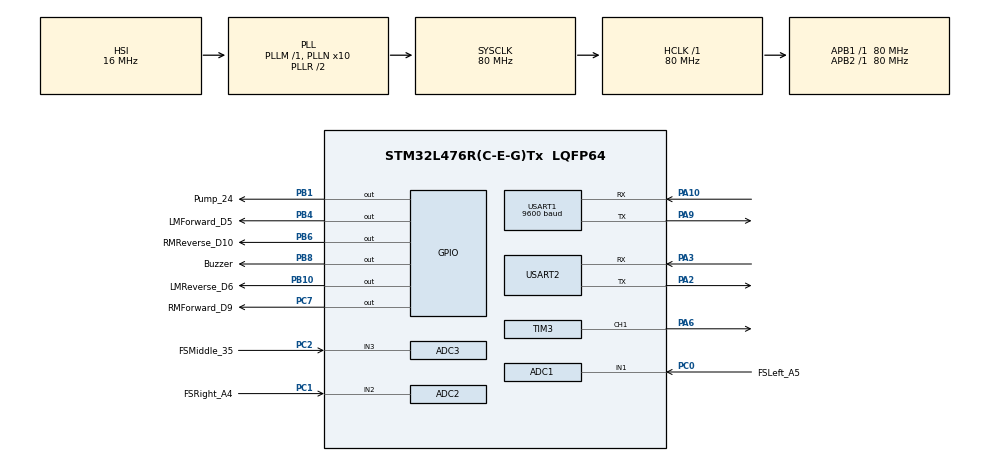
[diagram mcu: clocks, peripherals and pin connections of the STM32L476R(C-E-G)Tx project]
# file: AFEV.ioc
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ADC1.Channel-1\#ChannelRegularConversion=ADC_CHANNEL_1
ADC1.NbrOfConversionFlag=1
ADC1.OffsetNumber-1\#ChannelRegularConversion=ADC_OFFSET_NONE
ADC1.Rank-1\#ChannelRegularConversion=1
ADC1.SamplingTime-1\#ChannelRegularConversion=ADC_SAMPLETIME_2CYCLES_5
ADC1.master=1
ADC2.Channel-0\#ChannelRegularConversion=ADC_CHANNEL_2
ADC2.NbrOfConversionFlag=1
ADC2.OffsetNumber-0\#ChannelRegularConversion=ADC_OFFSET_NONE
ADC2.Rank-0\#ChannelRegularConversion=1
ADC2.SamplingTime-0\#ChannelRegularConversion=ADC_SAMPLETIME_2CYCLES_5
ADC3.Channel-0\#ChannelRegularConversion=ADC_CHANNEL_3
ADC3.NbrOfConversionFlag=1
ADC3.OffsetNumber-0\#ChannelRegularConversion=ADC_OFFSET_NONE
ADC3.Rank-0\#ChannelRegularConversion=1
ADC3.SamplingTime-0\#ChannelRegularConversion=ADC_SAMPLETIME_2CYCLES_5
Mcu.Family=STM32L4
Mcu.Name=STM32L476R(C-E-G)Tx
Mcu.Package=LQFP64
NVIC.PriorityGroup=NVIC_PRIORITYGROUP_4
PA10.Mode=Asynchronous
PA10.Signal=USART1_RX
PA13\ (JTMS-SWDIO).Mode=Serial_Wire
PA13\ (JTMS-SWDIO).Signal=SYS_JTMS-SWDIO
PA14\ (JTCK-SWCLK).Mode=Serial_Wire
PA14\ (JTCK-SWCLK).Signal=SYS_JTCK-SWCLK
PA2.Mode=Asynchronous
PA2.Signal=USART2_TX
PA3.Mode=Asynchronous
PA3.Signal=USART2_RX
PA6.Signal=S_TIM3_CH1
PA9.Mode=Asynchronous
PA9.Signal=USART1_TX
PB1.GPIO_Label=Pump_24
PB1.Signal=GPIO_Output
PB10.GPIO_Label=LMReverse_D6
PB10.Signal=GPIO_Output
PB4\ (NJTRST).GPIO_Label=LMForward_D5
PB4\ (NJTRST).Signal=GPIO_Output
PB6.GPIO_Label=RMReverse_D10
PB6.Signal=GPIO_Output
PB8.GPIO_Label=Buzzer
PB8.Signal=GPIO_Output
PC0.GPIO_Label=FSLeft_A5
PC0.Signal=ADCx_IN1
PC1.GPIO_Label=FSRight_A4
PC1.Signal=ADCx_IN2
PC2.GPIO_Label=FSMiddle_35
PC2.Signal=ADCx_IN3
PC7.GPIO_Label=RMForward_D9
PC7.Signal=GPIO_Output
ProjectManager.HeapSize=0x200
ProjectManager.StackSize=0x400
ProjectManager.TargetToolchain=STM32CubeIDE
RCC.ADCFreq_Value=64000000
RCC.AHBFreq_Value=80000000
RCC.APB1Freq_Value=80000000
RCC.APB1TimFreq_Value=80000000
RCC.APB2Freq_Value=80000000
RCC.APB2TimFreq_Value=80000000
RCC.CortexFreq_Value=80000000
RCC.HCLKFreq_Value=80000000
RCC.HSE_VALUE=8000000
RCC.HSI_VALUE=16000000
RCC.LSE_VALUE=32768
RCC.MSI_VALUE=4000000
RCC.PLLN=10
RCC.PLLSourceVirtual=RCC_PLLSOURCE_HSI
RCC.PREFETCH_ENABLE=1
RCC.SYSCLKFreq_VALUE=80000000
RCC.SYSCLKSource=RCC_SYSCLKSOURCE_PLLCLK
RCC.USBFreq_Value=64000000
RCC.VCOOutputFreq_Value=160000000
SH.ADCx_IN1.0=ADC1_IN1,IN1-Single-Ended
SH.ADCx_IN2.0=ADC2_IN2,IN2-Single-Ended
SH.ADCx_IN3.0=ADC3_IN3,IN3-Single-Ended
SH.S_TIM3_CH1.0=TIM3_CH1,PWM Generation1 CH1
TIM3.Channel-PWM\ Generation1\ CH1=TIM_CHANNEL_1
TIM3.Period=19999
TIM3.Prescaler=79
USART1.BaudRate=9600
USART1.VirtualMode-Asynchronous=VM_ASYNC
USART2.VirtualMode-Asynchronous=VM_ASYNC
VP_TIM3_VS_ClockSourceINT.Mode=Internal
board=NUCLEO-L476RG

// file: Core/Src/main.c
/* USER CODE BEGIN Header */
/**
  ******************************************************************************
  * @file           : main.c
  * @brief          : Main program body
  ******************************************************************************
  * @attention
  *
  * Copyright (c) 2024 STMicroelectronics.
  * All rights reserved.
  *
  * This software is licensed under terms that can be found in the LICENSE file
  * in the root directory of this software component.
  * If no LICENSE file comes with this software, it is provided AS-IS.
  *
  ******************************************************************************
  */
/* USER CODE END Header */

#include "main.h"
#include "stdio.h"
#include "stdlib.h"
#include "string.h"
#include "stdbool.h"

#include "NanoEdgeAI.h" // Include NanoEdge AI header
#include "knowledge.h"  // Include knowledge header generated by NanoEdge AI Suite

/* USER CODE BEGIN PD */
#define LMForward_Pin              GPIO_PIN_4  // Assuming GPIOB Pin 4 for Left Motor 1
#define LMReverse_Pin              GPIO_PIN_10  // Assuming GPIOB Pin 5 for Left Motor 2
#define RMForward_Pin              GPIO_PIN_7  // Assuming GPIOB Pin 6 for Right Motor 1
#define RMReverse_Pin              GPIO_PIN_6  // Assuming GPIOB Pin 7 for Right Motor 2

#define Buzzer_Pin           	   GPIO_PIN_8  // Assuming GPIOB Pin 9 for Buzzer
#define Pump_Pin                   GPIO_PIN_1  // Assuming GPIOB Pin 8 for Pump

#define MIN_PWM 500
#define DEGREE_PER_PWM_UNIT 11.11

// Define thresholds for flame detection
#define SAFE_DISTANCE 9

#define FLAME_THRESHOLD 1500  // Flame detected too close (adjust as needed)
#define FLAME_THRESHOLD_SAFE  3700 // Safe distance from flame (adjust as needed)
/* USER CODE END PD */

ADC_HandleTypeDef hadc1;
ADC_HandleTypeDef hadc2;
ADC_HandleTypeDef hadc3;

TIM_HandleTypeDef htim3;

UART_HandleTypeDef huart1;
UART_HandleTypeDef huart2;
uint8_t txData = 0x55;
uint8_t rxData[2];

uint16_t distance;

/* USER CODE BEGIN PV */
float fsleft, fsright, fsmiddle;
bool leftFlameSafe, rightFlameSafe, forwardFlameSafe;

int pos;
int duration;
int halt = 200;

/* NanoEdge AI buffers */
float input_user_buffer[DATA_INPUT_USER * AXIS_NUMBER]; // Buffer of input values
float output_class_buffer[CLASS_NUMBER]; // Buffer of class probabilities
uint16_t id_class = 0; // Point to id class (see argument of neai_classification fct)
const char *id2class[CLASS_NUMBER + 1] = { // Buffer for mapping class id to class name
	"unknown",
	"level1",
	"level2",
	"level3",
};
/* USER CODE END PV */

void SystemClock_Config(void);
void PeriphCommonClock_Config(void);
static void MX_GPIO_Init(void);
static void MX_USART1_UART_Init(void);
static void MX_USART2_UART_Init(void);

static void MX_TIM3_Init(void);

void put_off_fire(uint16_t);
void SetServoAngle(int);

float ReadADC(ADC_HandleTypeDef* hadc);
uint16_t GetObjectDistance(void);

static void MX_ADC1_Init(void);
static void MX_ADC2_Init(void);
static void MX_ADC3_Init(void);

/* USER CODE BEGIN 0 */
int __io_putchar(int);
/* USER CODE END 0 */

int main(void)
{

  /* MCU Configuration--------------------------------------------------------*/
  /* Reset of all peripherals, Initializes the Flash interface and the Systick. */
  HAL_Init();

  /* Configure the system clock */
  SystemClock_Config();

  /* Configure the peripherals common clocks */
  PeriphCommonClock_Config();

  /* Initialize all configured peripherals */
  MX_GPIO_Init();
  MX_USART1_UART_Init();
  MX_USART2_UART_Init();
  MX_TIM3_Init();
  MX_ADC1_Init();
  MX_ADC2_Init();
  MX_ADC3_Init();

  HAL_TIM_PWM_Start(&htim3, TIM_CHANNEL_1);

  //Initialize the classification system
  neai_classification_init(knowledge);

  printf("Initialization complete.\r\n");

  /* Infinite loop */
  /* USER CODE BEGIN WHILE */
  while (1)
  {
  	  printf("\r\n");

  	  // Default motor and buzzer states
	  HAL_GPIO_WritePin(GPIOB, LMForward_Pin, GPIO_PIN_RESET);
      HAL_GPIO_WritePin(GPIOB, LMReverse_Pin, GPIO_PIN_RESET);
      HAL_GPIO_WritePin(GPIOC, RMForward_Pin, GPIO_PIN_RESET);
      HAL_GPIO_WritePin(GPIOB, RMReverse_Pin, GPIO_PIN_RESET);
      HAL_GPIO_WritePin(GPIOB, Buzzer_Pin, GPIO_PIN_RESET);

      SetServoAngle(90);

	  fsleft   = ReadADC(&hadc1); // ADC value for sensor 1
	  fsright  = ReadADC(&hadc2); // ADC value for sensor 2
	  fsmiddle = ReadADC(&hadc3); // ADC value for sensor 3

      printf("%f\t%f\t%f\r\n", fsleft, fsright, fsmiddle);

      GetObjectDistance();

      //Determine flame detection
      leftFlameSafe = (fsleft < FLAME_THRESHOLD_SAFE);
      rightFlameSafe = (fsright < FLAME_THRESHOLD_SAFE);
      forwardFlameSafe = (fsmiddle < FLAME_THRESHOLD_SAFE);

	  printf("LFS : %d \r\n", leftFlameSafe);
	  printf("RFS : %d \r\n", rightFlameSafe);
	  printf("FFS : %d \r\n", forwardFlameSafe);

      if( leftFlameSafe || rightFlameSafe || forwardFlameSafe ){
    	  HAL_GPIO_WritePin(GPIOB, Buzzer_Pin, SET);
      }

      if ( fsleft > FLAME_THRESHOLD && fsright > FLAME_THRESHOLD && fsmiddle > FLAME_THRESHOLD ){
    	  halt = 200;
    	  if (( leftFlameSafe && rightFlameSafe && forwardFlameSafe) || (!leftFlameSafe && !rightFlameSafe && forwardFlameSafe) ) {
    		  //Flame detected in the forward direction
				  halt = 200;
    			  HAL_GPIO_WritePin(GPIOB, LMForward_Pin, SET);
            	  HAL_GPIO_WritePin(GPIOB, LMReverse_Pin, RESET);
            	  HAL_GPIO_WritePin(GPIOC, RMForward_Pin, SET);
            	  HAL_GPIO_WritePin(GPIOB, RMReverse_Pin, RESET);
    	  } else if ( leftFlameSafe || ( leftFlameSafe && !rightFlameSafe && forwardFlameSafe ) ){
    		  //Flame detected on the left
    		  	   halt = 100;
            	   HAL_GPIO_WritePin(GPIOB, LMForward_Pin, RESET);
            	   HAL_GPIO_WritePin(GPIOB, LMReverse_Pin, RESET);
            	   HAL_GPIO_WritePin(GPIOC, RMForward_Pin, SET);
            	   HAL_GPIO_WritePin(GPIOB, RMReverse_Pin, RESET);
    	  } else if (rightFlameSafe || (!leftFlameSafe && rightFlameSafe && forwardFlameSafe) ){
               // Flame detected on the right
				  halt = 100;
    			  HAL_GPIO_WritePin(GPIOB, LMForward_Pin, SET);
    			  HAL_GPIO_WritePin(GPIOB, LMReverse_Pin, RESET);
            	  HAL_GPIO_WritePin(GPIOC, RMForward_Pin, RESET);
            	  HAL_GPIO_WritePin(GPIOB, RMReverse_Pin, RESET);
    	  }
      } else if ( fsleft <= FLAME_THRESHOLD || fsright <= FLAME_THRESHOLD || fsmiddle <= FLAME_THRESHOLD ){
    	  halt = 25;
		  distance = GetObjectDistance();
	        //Use ultrasonic sensor to move closer to the object
	        if ( distance > SAFE_DISTANCE + 5 ){
	            // Move forward until distance is 20 cm
	            HAL_GPIO_WritePin(GPIOB, LMForward_Pin, GPIO_PIN_SET);
	            HAL_GPIO_WritePin(GPIOB, LMReverse_Pin, GPIO_PIN_RESET);
	            HAL_GPIO_WritePin(GPIOC, RMForward_Pin, GPIO_PIN_SET);
	            HAL_GPIO_WritePin(GPIOB, RMReverse_Pin, GPIO_PIN_RESET);
	        }else if (distance < SAFE_DISTANCE - 3 ){
	            // Move backward if distance is less than 20 cm
	            HAL_GPIO_WritePin(GPIOB, LMForward_Pin, GPIO_PIN_RESET);
	            HAL_GPIO_WritePin(GPIOB, LMReverse_Pin, GPIO_PIN_SET);
	            HAL_GPIO_WritePin(GPIOC, RMForward_Pin, GPIO_PIN_RESET);
	            HAL_GPIO_WritePin(GPIOB, RMReverse_Pin, GPIO_PIN_SET);
	        }

	        if ( (SAFE_DISTANCE - 3 <= distance) && (distance <= SAFE_DISTANCE + 3) ){
	            // Stop and extinguish the fire when distance is 20 cm
	            HAL_GPIO_WritePin(GPIOB, LMForward_Pin, GPIO_PIN_RESET);
	            HAL_GPIO_WritePin(GPIOB, LMReverse_Pin, GPIO_PIN_RESET);
	            HAL_GPIO_WritePin(GPIOC, RMForward_Pin, GPIO_PIN_RESET);
	            HAL_GPIO_WritePin(GPIOB, RMReverse_Pin, GPIO_PIN_RESET);

//	            Fill input buffer for AI with sensor data
	            input_user_buffer[0] =  fsleft;
	            input_user_buffer[1] =  fsright;
	            input_user_buffer[2] =  fsmiddle;

//	            Print input buffer values (using correct format specifier for float)
	            printf("\r\nInput Values:\r\n");
	            printf("%f\t%f\t%f\r\n", input_user_buffer[0], input_user_buffer[1], input_user_buffer[2]);

//	            Perform AI classification
	            neai_classification(input_user_buffer, output_class_buffer, &id_class);

//	            Print classified class ID
	            printf("Class ID: %d\r\n", id_class);

//	            Print the corresponding class name
	            printf("Detected Class: %s\r\n", id2class[id_class]);

	            // Call the function to extinguish the fire
	            put_off_fire(id_class);
	        }
      }

      // Delay before the next loop iteration
      HAL_Delay(halt); // Delay between measurements

      /* USER CODE END WHILE */
  }
}

void put_off_fire(uint16_t class){

	printf("Inside put_off_fire\r\n");
    HAL_Delay(200);

    if( class == 1 ){
    	duration = 500;
    }else if( class == 2 ){
    	duration = 350;
    }else if (class == 3){
    	duration =200;
    }else{
    	duration = 100;
    }

    printf("Duration : %d\r\n",duration);

    // Activate motors to simulate a fire extinguishing action
    HAL_GPIO_WritePin(GPIOB, LMForward_Pin, RESET);
    HAL_GPIO_WritePin(GPIOB, LMReverse_Pin, RESET);
    HAL_GPIO_WritePin(GPIOC, RMForward_Pin, RESET);
    HAL_GPIO_WritePin(GPIOB, RMReverse_Pin, RESET);

    HAL_GPIO_WritePin(GPIOB, Pump_Pin, SET);
    HAL_Delay(duration);

    for (pos=30; pos<=150; pos++){
    	SetServoAngle(pos);
    	HAL_Delay(10);
    };

    for (pos=150; pos>=30; pos--){
    	SetServoAngle(pos);
    	HAL_Delay(10);
    };

    HAL_GPIO_WritePin(GPIOB, Pump_Pin, RESET);

    if( ReadADC(&hadc1) > FLAME_THRESHOLD_SAFE && ReadADC(&hadc2) > FLAME_THRESHOLD_SAFE && ReadADC(&hadc3) > FLAME_THRESHOLD_SAFE )
    {
        HAL_GPIO_WritePin(GPIOB, Buzzer_Pin, RESET);
    }

    SetServoAngle(90);

    printf("Done\r\n");
}

void SetServoAngle(int angle) {
     if (angle < 0) angle = 0; // Ensure angle is within bounds
     if (angle > 180) angle = 180;
     // Calculate PWM value
     int pwm_value = MIN_PWM + angle * DEGREE_PER_PWM_UNIT;
     __HAL_TIM_SET_COMPARE(&htim3, TIM_CHANNEL_1, pwm_value);
  }

float ReadADC(ADC_HandleTypeDef *hadc) {
    float adcValue = 0;

    // Start the ADC conversion
    HAL_ADC_Start(hadc);

    // Wait for the conversion to complete
    if (HAL_ADC_PollForConversion(hadc, HAL_MAX_DELAY) == HAL_OK) {
        // Get the converted value
        adcValue = HAL_ADC_GetValue(hadc);
    }

    // Stop the ADC conversion
    HAL_ADC_Stop(hadc);

    return adcValue;
}

uint16_t GetObjectDistance(void)
{
    uint16_t distance = 0;

    // Transmit data
    if (HAL_UART_Transmit(&huart1, &txData, 1, HAL_MAX_DELAY) != HAL_OK)
    {
        printf("Transmission Error\r\n");
        Error_Handler(); // Investigate error
    }

    // Receive data with a timeout
    if (HAL_UART_Receive(&huart1, rxData, 2, 1000) == HAL_OK) // 1 second timeout
    {
        uint16_t highByte = rxData[0];
        uint16_t lowByte = rxData[1];
        distance = ((highByte << 8) | lowByte) / 10;

        if (distance > 1 && distance < 10000)
        {
            printf("Distance= %d\r\n", distance);
        }
        else
        {
            printf("Distance out of range: %d\r\n", distance);
        }
    }
    else
    {
        printf("Receive Error\r\n");
    }

    return distance;
}

void SystemClock_Config(void)
{
  RCC_OscInitTypeDef RCC_OscInitStruct = {0};
  RCC_ClkInitTypeDef RCC_ClkInitStruct = {0};

  /** Configure the main internal regulator output voltage
  */
  if (HAL_PWREx_ControlVoltageScaling(PWR_REGULATOR_VOLTAGE_SCALE1) != HAL_OK)
  {
    Error_Handler();
  }

  /** Initializes the RCC Oscillators according to the specified parameters
  * in the RCC_OscInitTypeDef structure.
  */
  RCC_OscInitStruct.OscillatorType = RCC_OSCILLATORTYPE_HSI;
  RCC_OscInitStruct.HSIState = RCC_HSI_ON;
  RCC_OscInitStruct.HSICalibrationValue = RCC_HSICALIBRATION_DEFAULT;
  RCC_OscInitStruct.PLL.PLLState = RCC_PLL_ON;
  RCC_OscInitStruct.PLL.PLLSource = RCC_PLLSOURCE_HSI;
  RCC_OscInitStruct.PLL.PLLM = 1;
  RCC_OscInitStruct.PLL.PLLN = 10;
  RCC_OscInitStruct.PLL.PLLP = RCC_PLLP_DIV7;
  RCC_OscInitStruct.PLL.PLLQ = RCC_PLLQ_DIV2;
  RCC_OscInitStruct.PLL.PLLR = RCC_PLLR_DIV2;
  if (HAL_RCC_OscConfig(&RCC_OscInitStruct) != HAL_OK)
  {
    Error_Handler();
  }

  /** Initializes the CPU, AHB and APB buses clocks
  */
  RCC_ClkInitStruct.ClockType = RCC_CLOCKTYPE_HCLK|RCC_CLOCKTYPE_SYSCLK
                              |RCC_CLOCKTYPE_PCLK1|RCC_CLOCKTYPE_PCLK2;
  RCC_ClkInitStruct.SYSCLKSource = RCC_SYSCLKSOURCE_PLLCLK;
  RCC_ClkInitStruct.AHBCLKDivider = RCC_SYSCLK_DIV1;
  RCC_ClkInitStruct.APB1CLKDivider = RCC_HCLK_DIV1;
  RCC_ClkInitStruct.APB2CLKDivider = RCC_HCLK_DIV1;

  if (HAL_RCC_ClockConfig(&RCC_ClkInitStruct, FLASH_LATENCY_4) != HAL_OK)
  {
    Error_Handler();
  }
}

void PeriphCommonClock_Config(void)
{
  RCC_PeriphCLKInitTypeDef PeriphClkInit = {0};

  /** Initializes the peripherals clock
  */
  PeriphClkInit.PeriphClockSelection = RCC_PERIPHCLK_ADC;
  PeriphClkInit.AdcClockSelection = RCC_ADCCLKSOURCE_PLLSAI1;
  PeriphClkInit.PLLSAI1.PLLSAI1Source = RCC_PLLSOURCE_HSI;
  PeriphClkInit.PLLSAI1.PLLSAI1M = 1;
  PeriphClkInit.PLLSAI1.PLLSAI1N = 8;
  PeriphClkInit.PLLSAI1.PLLSAI1P = RCC_PLLP_DIV7;
  PeriphClkInit.PLLSAI1.PLLSAI1Q = RCC_PLLQ_DIV2;
  PeriphClkInit.PLLSAI1.PLLSAI1R = RCC_PLLR_DIV2;
  PeriphClkInit.PLLSAI1.PLLSAI1ClockOut = RCC_PLLSAI1_ADC1CLK;
  if (HAL_RCCEx_PeriphCLKConfig(&PeriphClkInit) != HAL_OK)
  {
    Error_Handler();
  }
}

static void MX_ADC1_Init(void)
{

  ADC_MultiModeTypeDef multimode = {0};
  ADC_ChannelConfTypeDef sConfig = {0};

  /** Common config
  */
  hadc1.Instance = ADC1;
  hadc1.Init.ClockPrescaler = ADC_CLOCK_ASYNC_DIV1;
  hadc1.Init.Resolution = ADC_RESOLUTION_12B;
  hadc1.Init.DataAlign = ADC_DATAALIGN_RIGHT;
  hadc1.Init.ScanConvMode = ADC_SCAN_DISABLE;
  hadc1.Init.EOCSelection = ADC_EOC_SINGLE_CONV;
  hadc1.Init.LowPowerAutoWait = DISABLE;
  hadc1.Init.ContinuousConvMode = DISABLE;
  hadc1.Init.NbrOfConversion = 1;
  hadc1.Init.DiscontinuousConvMode = DISABLE;
  hadc1.Init.ExternalTrigConv = ADC_SOFTWARE_START;
  hadc1.Init.ExternalTrigConvEdge = ADC_EXTERNALTRIGCONVEDGE_NONE;
  hadc1.Init.DMAContinuousRequests = DISABLE;
  hadc1.Init.Overrun = ADC_OVR_DATA_PRESERVED;
  hadc1.Init.OversamplingMode = DISABLE;
  if (HAL_ADC_Init(&hadc1) != HAL_OK)
  {
    Error_Handler();
  }

  /** Configure the ADC multi-mode
  */
  multimode.Mode = ADC_MODE_INDEPENDENT;
  if (HAL_ADCEx_MultiModeConfigChannel(&hadc1, &multimode) != HAL_OK)
  {
    Error_Handler();
  }

  /** Configure Regular Channel
  */
  sConfig.Channel = ADC_CHANNEL_1;
  sConfig.Rank = ADC_REGULAR_RANK_1;
  sConfig.SamplingTime = ADC_SAMPLETIME_2CYCLES_5;
  sConfig.SingleDiff = ADC_SINGLE_ENDED;
  sConfig.OffsetNumber = ADC_OFFSET_NONE;
  sConfig.Offset = 0;
  if (HAL_ADC_ConfigChannel(&hadc1, &sConfig) != HAL_OK)
  {
    Error_Handler();
  }

}

static void MX_ADC2_Init(void)
{

  ADC_ChannelConfTypeDef sConfig = {0};

  /** Common config
  */
  hadc2.Instance = ADC2;
  hadc2.Init.ClockPrescaler = ADC_CLOCK_ASYNC_DIV1;
  hadc2.Init.Resolution = ADC_RESOLUTION_12B;
  hadc2.Init.DataAlign = ADC_DATAALIGN_RIGHT;
  hadc2.Init.ScanConvMode = ADC_SCAN_DISABLE;
  hadc2.Init.EOCSelection = ADC_EOC_SINGLE_CONV;
  hadc2.Init.LowPowerAutoWait = DISABLE;
  hadc2.Init.ContinuousConvMode = DISABLE;
  hadc2.Init.NbrOfConversion = 1;
  hadc2.Init.DiscontinuousConvMode = DISABLE;
  hadc2.Init.ExternalTrigConv = ADC_SOFTWARE_START;
  hadc2.Init.ExternalTrigConvEdge = ADC_EXTERNALTRIGCONVEDGE_NONE;
  hadc2.Init.DMAContinuousRequests = DISABLE;
  hadc2.Init.Overrun = ADC_OVR_DATA_PRESERVED;
  hadc2.Init.OversamplingMode = DISABLE;
  if (HAL_ADC_Init(&hadc2) != HAL_OK)
  {
    Error_Handler();
  }

  /** Configure Regular Channel
  */
  sConfig.Channel = ADC_CHANNEL_2;
  sConfig.Rank = ADC_REGULAR_RANK_1;
  sConfig.SamplingTime = ADC_SAMPLETIME_2CYCLES_5;
  sConfig.SingleDiff = ADC_SINGLE_ENDED;
  sConfig.OffsetNumber = ADC_OFFSET_NONE;
  sConfig.Offset = 0;
  if (HAL_ADC_ConfigChannel(&hadc2, &sConfig) != HAL_OK)
  {
    Error_Handler();
  }

}

static void MX_ADC3_Init(void)
{

  ADC_ChannelConfTypeDef sConfig = {0};

  /** Common config
  */
  hadc3.Instance = ADC3;
  hadc3.Init.ClockPrescaler = ADC_CLOCK_ASYNC_DIV1;
  hadc3.Init.Resolution = ADC_RESOLUTION_12B;
  hadc3.Init.DataAlign = ADC_DATAALIGN_RIGHT;
  hadc3.Init.ScanConvMode = ADC_SCAN_DISABLE;
  hadc3.Init.EOCSelection = ADC_EOC_SINGLE_CONV;
  hadc3.Init.LowPowerAutoWait = DISABLE;
  hadc3.Init.ContinuousConvMode = DISABLE;
  hadc3.Init.NbrOfConversion = 1;
  hadc3.Init.DiscontinuousConvMode = DISABLE;
  hadc3.Init.ExternalTrigConv = ADC_SOFTWARE_START;
  hadc3.Init.ExternalTrigConvEdge = ADC_EXTERNALTRIGCONVEDGE_NONE;
  hadc3.Init.DMAContinuousRequests = DISABLE;
  hadc3.Init.Overrun = ADC_OVR_DATA_PRESERVED;
  hadc3.Init.OversamplingMode = DISABLE;
  if (HAL_ADC_Init(&hadc3) != HAL_OK)
  {
    Error_Handler();
  }

  /** Configure Regular Channel
  */
  sConfig.Channel = ADC_CHANNEL_3;
  sConfig.Rank = ADC_REGULAR_RANK_1;
  sConfig.SamplingTime = ADC_SAMPLETIME_2CYCLES_5;
  sConfig.SingleDiff = ADC_SINGLE_ENDED;
  sConfig.OffsetNumber = ADC_OFFSET_NONE;
  sConfig.Offset = 0;
  if (HAL_ADC_ConfigChannel(&hadc3, &sConfig) != HAL_OK)
  {
    Error_Handler();
  }

}

static void MX_TIM3_Init(void)
{

  TIM_ClockConfigTypeDef sClockSourceConfig = {0};
  TIM_MasterConfigTypeDef sMasterConfig = {0};
  TIM_OC_InitTypeDef sConfigOC = {0};

  htim3.Instance = TIM3;
  htim3.Init.Prescaler = 79;
  htim3.Init.CounterMode = TIM_COUNTERMODE_UP;
  htim3.Init.Period = 19999;
  htim3.Init.ClockDivision = TIM_CLOCKDIVISION_DIV1;
  htim3.Init.AutoReloadPreload = TIM_AUTORELOAD_PRELOAD_DISABLE;
  if (HAL_TIM_Base_Init(&htim3) != HAL_OK)
  {
    Error_Handler();
  }
  sClockSourceConfig.ClockSource = TIM_CLOCKSOURCE_INTERNAL;
  if (HAL_TIM_ConfigClockSource(&htim3, &sClockSourceConfig) != HAL_OK)
  {
    Error_Handler();
  }
  if (HAL_TIM_PWM_Init(&htim3) != HAL_OK)
  {
    Error_Handler();
  }
  sMasterConfig.MasterOutputTrigger = TIM_TRGO_RESET;
  sMasterConfig.MasterSlaveMode = TIM_MASTERSLAVEMODE_DISABLE;
  if (HAL_TIMEx_MasterConfigSynchronization(&htim3, &sMasterConfig) != HAL_OK)
  {
    Error_Handler();
  }
  sConfigOC.OCMode = TIM_OCMODE_PWM1;
  sConfigOC.Pulse = 0;
  sConfigOC.OCPolarity = TIM_OCPOLARITY_HIGH;
  sConfigOC.OCFastMode = TIM_OCFAST_DISABLE;
  if (HAL_TIM_PWM_ConfigChannel(&htim3, &sConfigOC, TIM_CHANNEL_1) != HAL_OK)
  {
    Error_Handler();
  }
  HAL_TIM_MspPostInit(&htim3);

}

static void MX_USART1_UART_Init(void)
{

  huart1.Instance = USART1;
  huart1.Init.BaudRate = 9600;
  huart1.Init.WordLength = UART_WORDLENGTH_8B;
  huart1.Init.StopBits = UART_STOPBITS_1;
  huart1.Init.Parity = UART_PARITY_NONE;
  huart1.Init.Mode = UART_MODE_TX_RX;
  huart1.Init.HwFlowCtl = UART_HWCONTROL_NONE;
  huart1.Init.OverSampling = UART_OVERSAMPLING_16;
  huart1.Init.OneBitSampling = UART_ONE_BIT_SAMPLE_DISABLE;
  huart1.AdvancedInit.AdvFeatureInit = UART_ADVFEATURE_NO_INIT;
  if (HAL_UART_Init(&huart1) != HAL_OK)
  {
    Error_Handler();
  }

}

static void MX_USART2_UART_Init(void)
{

  huart2.Instance = USART2;
  huart2.Init.BaudRate = 115200;
  huart2.Init.WordLength = UART_WORDLENGTH_8B;
  huart2.Init.StopBits = UART_STOPBITS_1;
  huart2.Init.Parity = UART_PARITY_NONE;
  huart2.Init.Mode = UART_MODE_TX_RX;
  huart2.Init.HwFlowCtl = UART_HWCONTROL_NONE;
  huart2.Init.OverSampling = UART_OVERSAMPLING_16;
  huart2.Init.OneBitSampling = UART_ONE_BIT_SAMPLE_DISABLE;
  huart2.AdvancedInit.AdvFeatureInit = UART_ADVFEATURE_NO_INIT;
  if (HAL_UART_Init(&huart2) != HAL_OK)
  {
    Error_Handler();
  }

}

static void MX_GPIO_Init(void)
{
  GPIO_InitTypeDef GPIO_InitStruct = {0};

  /* GPIO Ports Clock Enable */
  __HAL_RCC_GPIOC_CLK_ENABLE();
  __HAL_RCC_GPIOA_CLK_ENABLE();
  __HAL_RCC_GPIOB_CLK_ENABLE();

  /*Configure GPIO pin Output Level */
  HAL_GPIO_WritePin(GPIOB, Pump_24_Pin|LMReverse_D6_Pin|LMForward_D5_Pin|RMReverse_D10_Pin
                          |Buzzer_Pin, GPIO_PIN_RESET);

  /*Configure GPIO pin Output Level */
  HAL_GPIO_WritePin(RMForward_D9_GPIO_Port, RMForward_D9_Pin, GPIO_PIN_RESET);

  /*Configure GPIO pins : Pump_24_Pin LMReverse_D6_Pin LMForward_D5_Pin RMReverse_D10_Pin
                           Buzzer_Pin */
  GPIO_InitStruct.Pin = Pump_24_Pin|LMReverse_D6_Pin|LMForward_D5_Pin|RMReverse_D10_Pin
                          |Buzzer_Pin;
  GPIO_InitStruct.Mode = GPIO_MODE_OUTPUT_PP;
  GPIO_InitStruct.Pull = GPIO_NOPULL;
  GPIO_InitStruct.Speed = GPIO_SPEED_FREQ_LOW;
  HAL_GPIO_Init(GPIOB, &GPIO_InitStruct);

  /*Configure GPIO pin : RMForward_D9_Pin */
  GPIO_InitStruct.Pin = RMForward_D9_Pin;
  GPIO_InitStruct.Mode = GPIO_MODE_OUTPUT_PP;
  GPIO_InitStruct.Pull = GPIO_NOPULL;
  GPIO_InitStruct.Speed = GPIO_SPEED_FREQ_LOW;
  HAL_GPIO_Init(RMForward_D9_GPIO_Port, &GPIO_InitStruct);

}

/* USER CODE BEGIN 4 */
int __io_putchar(int ch){
    HAL_UART_Transmit(&huart2, (uint8_t *)&ch, 1, HAL_MAX_DELAY);
    return ch;
}
/* USER CODE END 4 */

void Error_Handler(void)
{
  __disable_irq();
  while (1)
  {
  }
}
